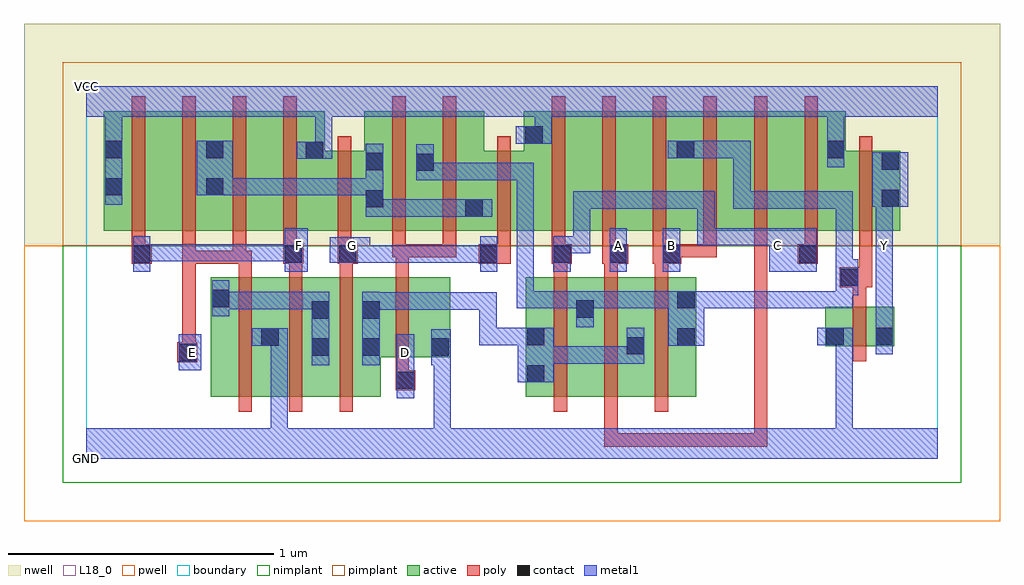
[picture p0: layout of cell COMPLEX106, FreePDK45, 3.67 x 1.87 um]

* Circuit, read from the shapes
.subckt COMPLEX106 A B C D E F G GND VCC Y
M1 GND E n1 VSUBS nfet w=0.45u l=0.05u
M2 n1 F GND VSUBS nfet w=0.45u l=0.05u
M3 n2 G n1 VSUBS nfet w=0.45u l=0.05u
M4 GND D n2 VSUBS nfet w=0.3u l=0.05u
M5 n3 C n2 VSUBS nfet w=0.45u l=0.05u
M6 n2 A n3 VSUBS nfet w=0.45u l=0.05u
M7 n3 B n2 VSUBS nfet w=0.45u l=0.05u
M8 Y n3 GND VSUBS nfet w=0.15u l=0.05u
M9 n4 F VCC n5 pfet w=0.45u l=0.05u
M10 n6 E n4 n5 pfet w=0.45u l=0.05u
M11 n7 E n6 n5 pfet w=0.45u l=0.05u
M12 VCC F n7 n5 pfet w=0.45u l=0.05u
M13 n6 G VCC n5 pfet w=0.3u l=0.05u m=2
M14 n3 D n6 n5 pfet w=0.45u l=0.05u m=2
M15 n8 C VCC n5 pfet w=0.45u l=0.05u
M16 n9 A n8 n5 pfet w=0.45u l=0.05u
M17 n3 B n9 n5 pfet w=0.45u l=0.05u
M18 n10 B n3 n5 pfet w=0.45u l=0.05u
M19 n11 A n10 n5 pfet w=0.45u l=0.05u
M20 VCC C n11 n5 pfet w=0.45u l=0.05u
M21 Y n3 VCC n5 pfet w=0.3u l=0.05u
.ends

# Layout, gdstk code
import gdstk
lib = gdstk.Library(unit=1e-6, precision=1e-09)
def R(c, l, rs):  # rectangles x0, y0, x1, y1
    for r in rs: c.add(gdstk.rectangle(r[:2], r[2:], *l))
def A(c, l, x, y, w, h, nx, ny, dx, dy):  # array of equal rectangles
    R(c, l, [(x+i*dx, y+j*dy, x+i*dx+w, y+j*dy+h) for i in range(nx) for j in range(ny)])
active = (1, 0)
pwell = (2, 0)
nwell = (3, 0)
nimplant = (4, 0)
pimplant = (5, 0)
poly = (9, 0)
contact = (10, 0)
metal1 = (11, 0)
L18_0 = (18, 0)
boundary = (235, 0)

complex106 = lib.new_cell('COMPLEX106')
R(complex106, active, [(0.467,0.232,0.727,0.682), (0.652,0.232,0.917,0.682), (0.842,0.232,0.917,0.682), (0.842,0.232,1.107,0.682), (1.032,0.232,1.107,0.682), (1.652,0.232,1.727,0.682), (1.652,0.232,1.912,0.682), (1.837,0.232,2.102,0.682), (2.027,0.232,2.292,0.682), (2.027,0.232,2.102,0.577), (2.217,0.232,2.292,0.682), (0.467,0.235,0.542,0.682), (0.652,0.257,0.727,0.542), (1.837,0.295,1.912,0.682), (1.032,0.382,1.367,0.682), (1.292,0.382,1.367,0.625), (2.777,0.422,2.852,0.572), (2.777,0.422,3.037,0.572), (2.962,0.422,3.037,0.572), (0.065,0.857,0.29,1.307), (0.065,0.857,0.14,1.305), (0.29,0.857,0.52,1.307), (0.445,0.857,0.52,1.2), (0.445,0.857,0.67,1.307), (0.67,0.857,0.895,1.307), (0.82,0.857,1.12,1.157), (1.045,0.857,1.31,1.307), (1.045,0.857,1.12,1.2), (1.235,0.857,1.495,1.307), (1.235,0.857,1.31,1.2), (1.42,0.857,1.72,1.157), (1.645,0.857,1.87,1.307), (1.87,0.857,2.06,1.307), (2.06,0.857,2.29,1.307), (2.215,0.857,2.29,1.2), (2.215,0.857,2.44,1.307), (2.44,0.857,2.63,1.307), (2.63,0.857,2.855,1.307), (2.78,0.857,3.06,1.157), (2.78,0.857,2.855,1.2), (2.985,0.857,3.06,1.157), (1.42,0.905,1.495,1.07), (0.82,0.952,0.895,1.307), (1.645,0.995,1.72,1.307)])
R(complex106, pwell, [(-0.235,-0.235,3.435,0.8)])
R(complex106, nwell, [(-0.235,0.8,3.435,1.635)])
R(complex106, nimplant, [(-0.09,-0.09,3.29,0.8)])
R(complex106, pimplant, [(-0.09,0.8,3.29,1.49)])
A(complex106, poly, 0.572, 0.177, 0.05, 0.56, 3, 1, 0.19, 0)
A(complex106, poly, 1.757, 0.177, 0.05, 0.56, 3, 1, 0.19, 0)
A(complex106, poly, 0.572, 0.687, 0.05, 0.095, 3, 1, 0.19, 0)
A(complex106, poly, 1.757, 0.687, 0.05, 0.095, 3, 1, 0.19, 0)
A(complex106, poly, 0.74, 0.757, 0.05, 0.095, 3, 1, 0.205, 0)
A(complex106, poly, 1.34, 0.757, 0.05, 0.095, 3, 1, 0.205, 0)
A(complex106, poly, 1.94, 0.757, 0.05, 0.095, 3, 1, 0.19, 0)
A(complex106, poly, 0.17, 0.802, 0.05, 0.56, 4, 1, 0.19, 0)
A(complex106, poly, 1.75, 0.802, 0.05, 0.56, 6, 1, 0.19, 0)
R(complex106, poly, [(1.947,0.045,1.997,0.227), (1.947,0.045,1.997,0.095), (1.947,0.045,1.997,0.095), (1.947,0.045,1.997,0.095), (1.947,0.045,2.13,0.095), (2.08,0.045,2.13,0.095), (2.08,0.045,2.37,0.095), (2.32,0.045,2.37,0.095), (2.32,0.045,2.37,0.095), (2.32,0.045,2.37,0.095), (2.32,0.045,2.37,0.095), (2.32,0.045,2.37,0.095), (2.32,0.045,2.56,0.095), (2.51,0.045,2.56,0.852), (2.51,0.045,2.56,0.095), (2.51,0.045,2.56,0.095), (2.51,0.045,2.56,0.095), (2.51,0.045,2.56,0.095), (2.51,0.045,2.56,0.095), (2.51,0.045,2.56,0.095), (2.51,0.045,2.56,0.095), (2.51,0.045,2.56,0.095), (2.51,0.045,2.56,0.095), (2.51,0.045,2.56,0.095), (2.51,0.045,2.56,0.095), (1.162,0.257,1.237,0.332), (1.162,0.282,1.212,0.377), (1.162,0.327,1.212,0.737), (0.342,0.362,0.417,0.437), (2.882,0.367,2.932,0.627), (0.36,0.387,0.41,0.782), (2.882,0.577,2.932,0.695), (2.832,0.645,2.955,0.72), (2.905,0.67,2.955,0.852), (1.162,0.687,1.212,0.807), (0.17,0.732,0.245,0.807), (0.36,0.732,0.41,0.782), (0.36,0.732,0.41,0.782), (0.36,0.732,0.41,0.782), (0.36,0.732,0.41,0.782), (0.36,0.732,0.41,0.782), (0.36,0.732,0.6,0.782), (0.36,0.732,0.41,0.852), (0.55,0.732,0.6,0.852), (0.55,0.732,0.622,0.782), (0.74,0.732,0.815,0.807), (0.945,0.732,1.02,0.807), (1.475,0.732,1.595,0.807), (1.75,0.732,1.825,0.807), (1.94,0.732,2.037,0.807), (2.13,0.732,2.237,0.807), (2.675,0.732,2.75,0.807), (0.17,0.757,0.22,0.852), (1.15,0.757,1.212,0.807), (1.162,0.757,1.212,0.807), (1.162,0.757,1.212,0.807), (1.162,0.757,1.39,0.807), (1.34,0.757,1.39,0.807), (2.187,0.757,2.237,0.807), (2.187,0.757,2.237,0.807), (2.187,0.757,2.37,0.807), (2.32,0.757,2.37,0.807), (2.7,0.757,2.75,0.852), (0.945,0.802,0.995,1.212), (1.15,0.802,1.2,1.362), (1.34,0.802,1.39,1.362), (1.545,0.802,1.595,1.212), (2.905,0.802,2.955,1.212)])
R(complex106, contact, [(1.167,0.262,1.232,0.327), (1.657,0.287,1.722,0.352), (0.347,0.367,0.412,0.432), (0.847,0.387,0.912,0.452), (1.037,0.387,1.102,0.452), (1.297,0.387,1.362,0.452), (2.032,0.392,2.097,0.457), (0.657,0.425,0.722,0.49), (2.222,0.425,2.287,0.49), (1.657,0.427,1.722,0.492), (2.782,0.427,2.847,0.492), (2.967,0.427,3.032,0.492), (0.847,0.527,0.912,0.592), (1.037,0.527,1.102,0.592), (1.842,0.53,1.907,0.595), (2.222,0.565,2.287,0.63), (0.472,0.57,0.537,0.635), (2.837,0.65,2.902,0.715), (0.175,0.737,0.24,0.802), (0.745,0.737,0.81,0.802), (0.95,0.737,1.015,0.802), (1.48,0.737,1.545,0.802), (1.755,0.737,1.82,0.802), (1.967,0.737,2.032,0.802), (2.167,0.737,2.232,0.802), (2.68,0.737,2.745,0.802), (1.425,0.91,1.49,0.975), (1.05,0.945,1.115,1.01), (2.99,0.947,3.055,1.012), (0.07,0.99,0.135,1.055), (0.45,0.99,0.515,1.055), (1.24,1.082,1.305,1.147), (1.05,1.085,1.115,1.15), (2.99,1.087,3.055,1.152), (0.825,1.127,0.89,1.192), (0.07,1.13,0.135,1.195), (0.45,1.13,0.515,1.195), (2.22,1.13,2.285,1.195), (2.785,1.13,2.85,1.195), (1.65,1.185,1.715,1.25)])
R(complex106, metal1, [(0,0,3.2,0.115), (0.692,0.05,0.757,0.115), (0.692,0.05,0.757,0.115), (0.692,0.05,0.757,0.115), (0.692,0.05,0.757,0.115), (0.692,0.05,0.757,0.49), (1.305,0.05,1.37,0.115), (1.305,0.05,1.37,0.115), (1.305,0.05,1.37,0.115), (1.305,0.05,1.37,0.115), (1.305,0.05,1.37,0.115), (1.305,0.05,1.37,0.115), (1.305,0.05,1.37,0.417), (2.817,0.05,2.882,0.115), (2.817,0.05,2.882,0.115), (2.817,0.05,2.882,0.115), (2.817,0.05,2.882,0.115), (2.817,0.05,2.882,0.115), (2.817,0.05,2.882,0.115), (2.817,0.05,2.882,0.115), (2.817,0.05,2.882,0.115), (2.817,0.05,2.882,0.492), (1.167,0.227,1.232,0.467), (1.622,0.287,1.757,0.492), (0.347,0.332,0.432,0.467), (0.847,0.352,0.912,0.627), (1.037,0.352,1.102,0.627), (1.297,0.352,1.37,0.487), (1.692,0.357,1.757,0.422), (1.692,0.357,1.757,0.422), (1.692,0.357,1.907,0.422), (1.842,0.357,1.907,0.422), (1.842,0.357,1.957,0.422), (1.892,0.357,1.957,0.422), (1.892,0.357,2.097,0.422), (2.032,0.357,2.097,0.492), (2.967,0.392,3.032,0.527), (0.622,0.425,0.757,0.49), (2.187,0.425,2.322,0.63), (1.477,0.427,1.542,0.492), (1.477,0.427,1.542,0.492), (1.477,0.427,1.542,0.492), (1.477,0.427,1.687,0.492), (1.477,0.427,1.542,0.625), (2.747,0.427,2.882,0.492), (2.967,0.462,3.032,0.797), (1.842,0.495,1.907,0.63), (0.472,0.535,0.537,0.67), (1.037,0.56,1.252,0.625), (1.187,0.56,1.252,0.625), (1.187,0.56,1.252,0.625), (1.187,0.56,1.252,0.625), (1.187,0.56,1.39,0.625), (1.325,0.56,1.39,0.625), (1.325,0.56,1.542,0.625), (1.477,0.56,1.542,0.625), (0.472,0.562,0.58,0.627), (0.515,0.562,0.58,0.627), (0.515,0.562,0.717,0.627), (0.652,0.562,0.717,0.627), (0.652,0.562,0.717,0.627), (0.652,0.562,0.717,0.627), (0.652,0.562,0.912,0.627), (1.617,0.565,1.682,0.63), (1.617,0.565,1.682,0.63), (1.617,0.565,1.682,0.63), (1.617,0.565,1.907,0.63), (1.617,0.565,1.682,1.112), (1.842,0.565,2.087,0.63), (2.022,0.565,2.087,0.63), (2.022,0.565,2.087,0.63), (2.022,0.565,2.087,0.63), (2.022,0.565,2.225,0.63), (2.16,0.565,2.225,0.63), (2.16,0.565,2.252,0.63), (2.257,0.565,2.362,0.63), (2.297,0.565,2.362,0.63), (2.297,0.565,2.497,0.63), (2.432,0.565,2.497,0.63), (2.432,0.565,2.497,0.63), (2.432,0.565,2.497,0.63), (2.432,0.565,2.635,0.63), (2.57,0.565,2.882,0.63), (2.57,0.565,2.635,0.63), (2.57,0.565,2.635,0.63), (2.57,0.565,2.635,0.63), (2.817,0.565,2.882,0.75), (2.817,0.565,2.882,0.63), (2.837,0.615,2.902,0.75), (2.817,0.685,2.902,0.75), (2.817,0.685,2.882,1.005), (2.817,0.685,2.882,0.75), (0.175,0.702,0.24,0.837), (0.745,0.702,0.832,0.867), (1.48,0.702,1.545,0.837), (1.755,0.702,1.82,0.837), (1.967,0.702,2.032,0.867), (2.167,0.702,2.232,0.867), (2.567,0.702,2.745,0.867), (2.967,0.732,3.032,0.867), (0.915,0.737,1.067,0.832), (1.002,0.737,1.067,0.802), (1.002,0.737,1.067,0.802), (1.002,0.737,1.252,0.802), (1.187,0.737,1.252,0.802), (1.187,0.737,1.252,0.802), (1.187,0.737,1.252,0.802), (1.187,0.737,1.39,0.802), (1.325,0.737,1.39,0.802), (1.325,0.737,1.442,0.802), (1.377,0.737,1.442,0.802), (1.377,0.737,1.545,0.802), (0.175,0.742,0.24,0.807), (0.175,0.742,0.24,0.807), (0.175,0.742,0.412,0.807), (0.347,0.742,0.412,0.807), (0.347,0.742,0.412,0.807), (0.347,0.742,0.412,0.807), (0.347,0.742,0.55,0.807), (0.485,0.742,0.55,0.807), (0.485,0.742,0.687,0.807), (0.622,0.742,0.687,0.807), (0.622,0.742,0.81,0.807), (1.755,0.772,1.895,0.837), (1.83,0.772,1.895,0.837), (1.83,0.772,1.895,1.005), (2.297,0.802,2.362,0.867), (2.297,0.802,2.362,0.867), (2.297,0.802,2.362,0.867), (2.297,0.802,2.497,0.867), (2.297,0.802,2.362,1.005), (2.432,0.802,2.497,0.867), (2.432,0.802,2.497,0.867), (2.432,0.802,2.497,0.867), (2.432,0.802,2.632,0.867), (2.567,0.802,2.632,0.867), (2.567,0.802,2.632,0.867), (2.967,0.802,3.032,1.012), (1.05,0.91,1.252,0.975), (1.05,0.91,1.115,1.185), (1.187,0.91,1.252,0.975), (1.187,0.91,1.252,0.975), (1.187,0.91,1.252,0.975), (1.187,0.91,1.39,0.975), (1.325,0.91,1.39,0.975), (1.325,0.91,1.455,0.975), (1.39,0.91,1.525,0.975), (1.83,0.94,1.895,1.005), (1.83,0.94,2.045,1.005), (1.98,0.94,2.045,1.005), (1.98,0.94,2.045,1.005), (1.98,0.94,2.045,1.005), (1.98,0.94,2.225,1.005), (2.16,0.94,2.225,1.005), (2.16,0.94,2.362,1.005), (2.297,0.94,2.362,1.005), (2.432,0.94,2.497,1.005), (2.432,0.94,2.497,1.005), (2.432,0.94,2.497,1.005), (2.432,0.94,2.635,1.005), (2.432,0.94,2.497,1.195), (2.57,0.94,2.882,1.005), (2.57,0.94,2.635,1.005), (2.57,0.94,2.635,1.005), (2.57,0.94,2.635,1.005), (2.817,0.94,2.882,1.005), (2.955,0.947,3.09,1.152), (0.07,0.955,0.135,1.23), (0.415,0.99,0.55,1.195), (0.485,0.99,0.55,1.055), (0.485,0.99,0.55,1.055), (0.485,0.99,0.717,1.055), (0.652,0.99,0.717,1.055), (0.652,0.99,0.717,1.055), (0.652,0.99,0.717,1.055), (0.652,0.99,0.855,1.055), (0.79,0.99,0.855,1.055), (0.79,0.99,0.855,1.055), (0.79,0.99,0.855,1.055), (0.79,0.99,1.115,1.055), (1.24,1.047,1.305,1.182), (1.24,1.047,1.39,1.112), (1.325,1.047,1.39,1.112), (1.325,1.047,1.527,1.112), (1.462,1.047,1.527,1.112), (1.462,1.047,1.527,1.112), (1.462,1.047,1.527,1.112), (1.462,1.047,1.682,1.112), (1.617,1.047,1.682,1.112), (1.617,1.047,1.682,1.112), (1.617,1.047,1.682,1.112), (1.617,1.047,1.682,1.112), (1.617,1.047,1.682,1.112), (2.785,1.095,2.85,1.23), (0.79,1.127,0.925,1.192), (0.86,1.127,0.925,1.35), (2.185,1.13,2.32,1.195), (2.255,1.13,2.362,1.195), (2.297,1.13,2.362,1.195), (2.297,1.13,2.497,1.195), (2.432,1.13,2.497,1.195), (0.07,1.165,0.135,1.35), (2.785,1.165,2.85,1.35), (1.615,1.185,1.75,1.25), (1.685,1.185,1.75,1.35), (0,1.285,3.2,1.4)])
A(complex106, L18_0, 2.167, 0.767, 0.065, 0.065, 3, 1, 0.4, 0)
R(complex106, L18_0, [(0,0,3.2,0.115), (0.692,0.05,0.757,0.115), (0.692,0.05,0.757,0.115), (0.692,0.05,0.757,0.115), (0.692,0.05,0.757,0.115), (0.692,0.05,0.757,0.49), (1.305,0.05,1.37,0.115), (1.305,0.05,1.37,0.115), (1.305,0.05,1.37,0.115), (1.305,0.05,1.37,0.115), (1.305,0.05,1.37,0.115), (1.305,0.05,1.37,0.115), (1.305,0.05,1.37,0.417), (2.817,0.05,2.882,0.115), (2.817,0.05,2.882,0.115), (2.817,0.05,2.882,0.115), (2.817,0.05,2.882,0.115), (2.817,0.05,2.882,0.115), (2.817,0.05,2.882,0.115), (2.817,0.05,2.882,0.115), (2.817,0.05,2.882,0.115), (2.817,0.05,2.882,0.492), (1.167,0.227,1.232,0.467), (0.347,0.332,0.432,0.467), (1.297,0.352,1.37,0.487), (0.367,0.367,0.432,0.432), (1.167,0.367,1.232,0.432), (2.967,0.392,3.032,0.527), (0.622,0.425,0.757,0.49), (2.747,0.427,2.882,0.492), (2.967,0.462,3.032,0.797), (0.175,0.702,0.24,0.837), (0.745,0.702,0.832,0.867), (1.48,0.702,1.545,0.837), (1.755,0.702,1.82,0.837), (1.967,0.702,2.032,0.867), (2.167,0.702,2.232,0.867), (2.567,0.702,2.745,0.867), (2.967,0.732,3.032,0.867), (0.915,0.737,1.067,0.832), (1.002,0.737,1.067,0.802), (1.002,0.737,1.067,0.802), (1.002,0.737,1.252,0.802), (1.187,0.737,1.252,0.802), (1.187,0.737,1.252,0.802), (1.187,0.737,1.252,0.802), (1.187,0.737,1.39,0.802), (1.325,0.737,1.39,0.802), (1.325,0.737,1.442,0.802), (1.377,0.737,1.442,0.802), (1.377,0.737,1.545,0.802), (0.175,0.742,0.24,0.807), (0.175,0.742,0.24,0.807), (0.175,0.742,0.412,0.807), (0.347,0.742,0.412,0.807), (0.347,0.742,0.412,0.807), (0.347,0.742,0.412,0.807), (0.347,0.742,0.55,0.807), (0.485,0.742,0.55,0.807), (0.485,0.742,0.687,0.807), (0.622,0.742,0.687,0.807), (0.622,0.742,0.81,0.807), (0.767,0.767,0.832,0.832), (0.967,0.767,1.032,0.832), (1.967,0.767,2.032,0.832), (1.755,0.772,1.895,0.837), (1.83,0.772,1.895,0.837), (1.83,0.772,1.895,1.005), (2.297,0.802,2.362,0.867), (2.297,0.802,2.362,0.867), (2.297,0.802,2.362,0.867), (2.297,0.802,2.362,1.005), (2.297,0.802,2.497,0.867), (2.432,0.802,2.497,0.867), (2.432,0.802,2.497,0.867), (2.432,0.802,2.497,0.867), (2.432,0.802,2.632,0.867), (2.567,0.802,2.632,0.867), (2.567,0.802,2.632,0.867), (2.967,0.802,3.032,1.012), (1.83,0.94,1.895,1.005), (1.83,0.94,2.045,1.005), (1.98,0.94,2.045,1.005), (1.98,0.94,2.045,1.005), (1.98,0.94,2.045,1.005), (1.98,0.94,2.225,1.005), (2.16,0.94,2.225,1.005), (2.16,0.94,2.362,1.005), (2.297,0.94,2.362,1.005), (2.955,0.947,3.09,1.152), (0.07,0.955,0.135,1.23), (2.785,1.095,2.85,1.23), (0.79,1.127,0.925,1.192), (0.86,1.127,0.925,1.35), (0.07,1.165,0.135,1.35), (2.785,1.165,2.85,1.35), (1.615,1.185,1.75,1.25), (1.685,1.185,1.75,1.35), (0,1.285,3.2,1.4)])
R(complex106, boundary, [(0,0,3.2,1.4)])
complex106.add(gdstk.Label('A', (2,0.8), layer=11, texttype=0))
complex106.add(gdstk.Label('B', (2.2,0.8), layer=11, texttype=0))
complex106.add(gdstk.Label('C', (2.6,0.8), layer=11, texttype=0))
complex106.add(gdstk.Label('D', (1.2,0.4), layer=11, texttype=0))
complex106.add(gdstk.Label('E', (0.4,0.4), layer=11, texttype=0))
complex106.add(gdstk.Label('F', (0.8,0.8), layer=11, texttype=0))
complex106.add(gdstk.Label('G', (1,0.8), layer=11, texttype=0))
complex106.add(gdstk.Label('Y', (3,0.8), layer=11, texttype=0))
complex106.add(gdstk.Label('VCC', (0,1.4), layer=11, texttype=0))
complex106.add(gdstk.Label('GND', (0,0), layer=11, texttype=0))

lib.write_gds('COMPLEX106.gds')
